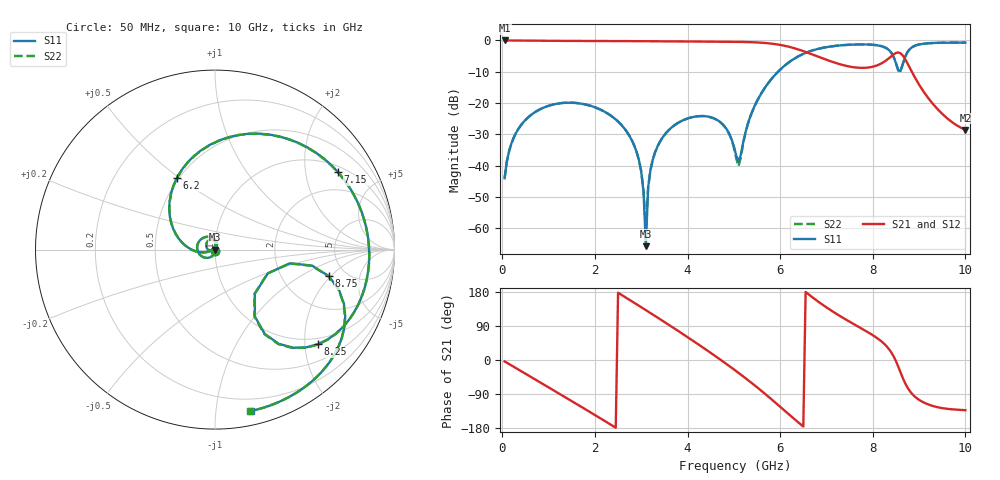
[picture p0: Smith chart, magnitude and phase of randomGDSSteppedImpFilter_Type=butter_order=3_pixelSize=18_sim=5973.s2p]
! freq	dB(S11)	phase(S11)	dB(S12)	phase(S12)
!  dB(S21)	phase(S21)	dB(S22)	phase(S22)
!S-par simulation data
#  GHz  S  DB  R 50
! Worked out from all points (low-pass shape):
!   200 points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, 50 MHz to 10 GHz, reference 50 ohm
!   highest |S21| = -0.03 dB at 50 MHz (marker M1); lowest = -28.6 dB at 10 GHz (marker M2)
!   |S21| within 3 dB of the highest: start of sweep to 6.419 GHz
!   lowest |S11| = -65.8 dB at 3.1 GHz (marker M3), VSWR 1.00, Z = 50 - j0.0512 ohm
!   |S11| at or under -10 dB: start of sweep to 5.955 GHz
!   |S22| runs from -60.2 to -0.7 dB; largest |S21 - S12| = 0
!   S11 on the Smith chart (normalised r, x): 50 MHz: 1.00, -0.01; 6.2 GHz: 0.49, +0.49; 7.15 GHz: 1.21, +3.03; 8.25 GHz: 0.85, -2.29; 8.75 GHz: 3.70, -1.90; 10 GHz: 0.10, -1.24
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0.05  -44.07 -71.6  -0.03 -3.7  -0.03 -3.7  -44.08 -71.6
0.2  -32.82 -98.8  -0.04 -14.5  -0.04 -14.5  -32.82 -98.8
0.55  -24.72 -128.9  -0.08 -39.8  -0.08 -39.8  -24.72 -128.9
1.75  -20.34 142.2  -0.19 -126.8  -0.19 -126.8  -20.34 142.3
2.85  -33.64 59.2  -0.25 150.9  -0.25 150.9  -33.62 61.8
3  -41.96 46.3  -0.26 139.4  -0.26 139.4  -41.88 54.2
3.05  -48.45 39.7  -0.26 135.5  -0.26 135.5  -48.16 57.6
3.1  -65.77 -95.3  -0.27 131.7  -0.27 131.7  -60.20 149.4
3.15  -46.94 -139.0  -0.27 127.8  -0.27 127.8  -46.87 -154.9
3.2  -41.39 -144.8  -0.28 123.9  -0.28 123.9  -41.40 -153.5
3.4  -32.49 -161.7  -0.29 108.3  -0.29 108.3  -32.50 -165.3
4.45  -24.38 115.0  -0.39 23.1  -0.39 23.1  -24.40 112.9
5.05  -36.74 105.0  -0.47 -29.3  -0.47 -29.3  -37.53 99.2
5.65  -15.60 172.4  -0.80 -86.9  -0.80 -86.9  -15.61 172.5
6.2  -6.88 118.0  -2.08 -144.6  -2.08 -144.6  -6.88 117.8
6.7  -3.21 69.2  -4.52 165.1  -4.52 165.1  -3.21 68.9
7.15  -1.83 32.1  -6.98 126.8  -6.98 126.8  -1.83 31.9
8.25  -2.17 -42.6  -6.80 42.2  -6.80 42.2  -2.17 -42.9
8.35  -3.11 -51.4  -5.70 28.7  -5.70 28.7  -3.11 -51.7
8.55  -9.59 -48.1  -3.85 -17.4  -3.85 -17.4  -9.61 -48.3
8.75  -3.72 -13.1  -7.37 -72.8  -7.37 -72.8  -3.73 -13.3
10  -0.71 -77.5  -28.61 -132.5  -28.61 -132.5  -0.72 -77.7
